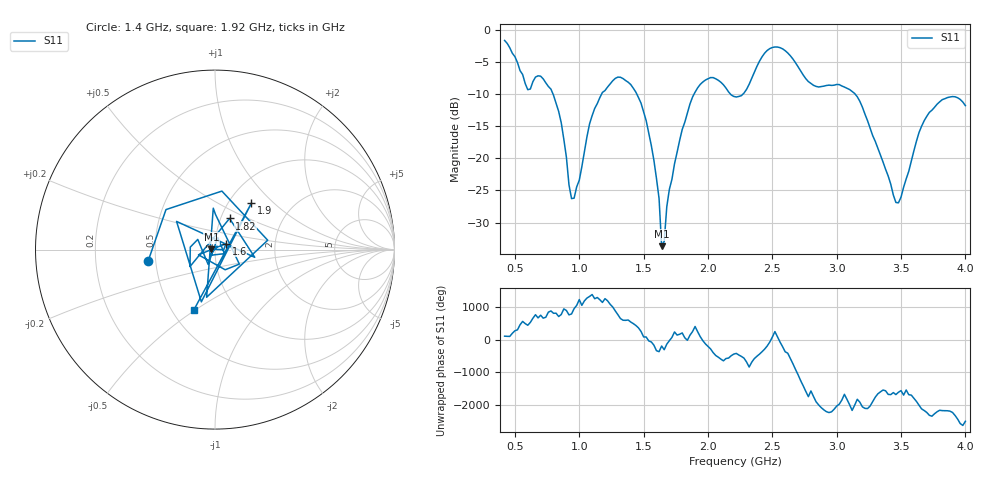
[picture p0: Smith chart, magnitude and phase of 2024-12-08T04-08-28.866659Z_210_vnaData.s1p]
!Created with skrf (http://scikit-rf.org).
# Hz S RI R 50.0
!freq ReS11 ImS11
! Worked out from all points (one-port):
!   180 points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, 420 MHz to 4 GHz, reference 50 ohm
!   lowest |S11| = -33.7 dB at 1.64 GHz (marker M1), VSWR 1.04, Z = 48 + j0.243 ohm
!   |S11| at or under -10 dB: 796.9 MHz to 1.173 GHz (375.9 MHz wide, 38.2 % of centre); 1.448 GHz to 1.891 GHz (443.5 MHz wide, 26.6 % of centre); 3.145 GHz to end of sweep (the widest 3 of 4)
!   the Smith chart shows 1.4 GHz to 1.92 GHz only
!   S11 on the Smith chart (normalised r, x): 1.4 GHz: 0.46, -0.07; 1.6 GHz: 1.13, +0.08; 1.82 GHz: 1.10, +0.40; 1.9 GHz: 1.27, +0.74; 1.92 GHz: 0.64, -0.49
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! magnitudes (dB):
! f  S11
! 420 MHz  -1.6
! 600 MHz  -9.3
! 680 MHz  -7.1
! 780 MHz  -9.2
! 880 MHz  -17.0
! 920 MHz  -24.1
! 960 MHz  -26.2
! 1.12 GHz  -12.2
! 1.32 GHz  -7.3
! 1.4 GHz  -8.5
! 1.52 GHz  -14.1
! 1.6 GHz  -23.2
! 1.62 GHz  -26.2
! 1.64 GHz  -33.7
! 1.78 GHz  -17.2
! 1.82 GHz  -14.4
! 1.9 GHz  -9.7
! 1.92 GHz  -9.0
! 2.04 GHz  -7.4
! 2.22 GHz  -10.4
! 2.48 GHz  -2.9
! 2.66 GHz  -4.5
! 2.82 GHz  -8.6
! 3.12 GHz  -9.6
! 3.46 GHz  -26.9
! 3.56 GHz  -22.0
! 3.72 GHz  -12.8
! 4 GHz  -11.8
